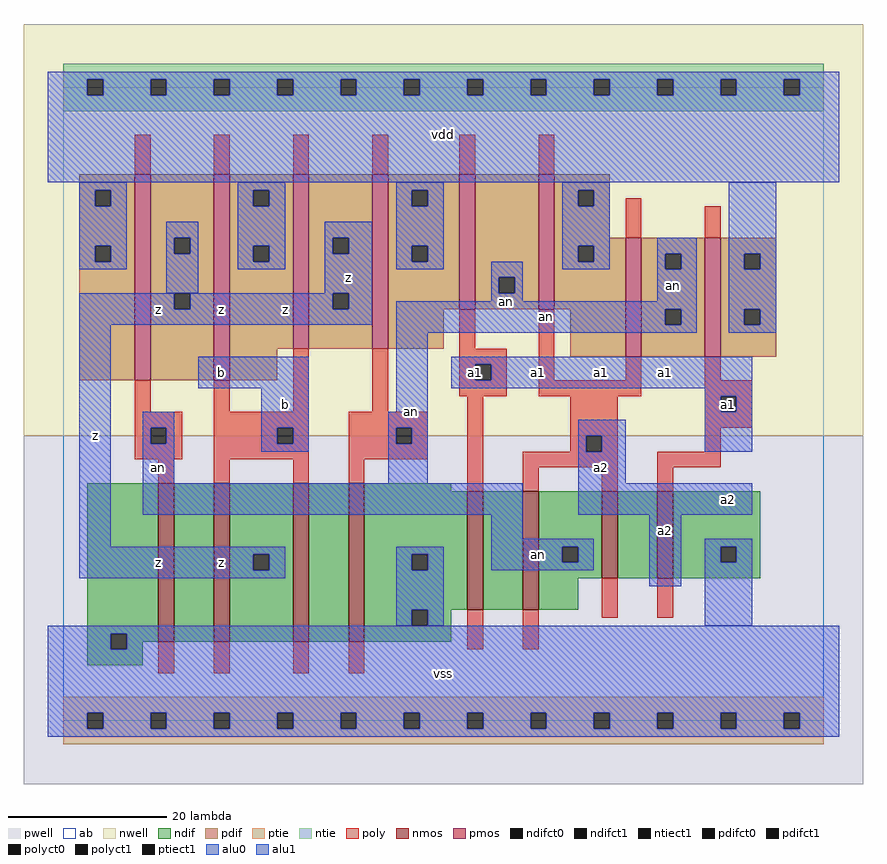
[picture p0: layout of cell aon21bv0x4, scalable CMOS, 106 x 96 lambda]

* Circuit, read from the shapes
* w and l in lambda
.subckt aon21bv0x4 a1 a2 an b vdd vss z
M1 n1 an vss vss nfet w=20 l=2
M2 z b n1 vss nfet w=20 l=2
M3 n2 b z vss nfet w=20 l=2
M4 vss an n2 vss nfet w=20 l=2
M5 n3 a1 vss vss nfet w=15 l=2
M6 an a2 n3 vss nfet w=15 l=2
M7 n4 a2 an vss nfet w=11 l=2
M8 vss a1 n4 vss nfet w=11 l=2
M9 z an vdd vdd pfet w=26 l=2
M10 vdd b z vdd pfet w=26 l=2
M11 z b vdd vdd pfet w=22 l=2
M12 vdd an z vdd pfet w=22 l=2
M13 an a1 vdd vdd pfet w=17 l=2
M14 vdd a2 an vdd pfet w=17 l=2
M15 an a2 vdd vdd pfet w=15 l=2
M16 vdd a1 an vdd pfet w=15 l=2
.ends

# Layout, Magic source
magic
tech scmos
<< ab >>
rect 0 0 96 80
<< nwell >>
rect -5 36 101 88
<< pwell >>
rect -5 -8 101 36
<< poly >>
rect 9 69 11 74
rect 19 69 21 74
rect 29 69 31 74
rect 39 69 41 74
rect 50 69 52 74
rect 60 69 62 74
rect 71 61 73 66
rect 81 61 83 65
rect 50 47 52 52
rect 9 39 11 43
rect 19 39 21 43
rect 29 39 31 47
rect 39 39 41 47
rect 50 45 56 47
rect 50 43 52 45
rect 54 43 56 45
rect 50 41 56 43
rect 60 43 62 52
rect 71 43 73 46
rect 60 41 73 43
rect 81 43 83 46
rect 81 41 87 43
rect 9 37 15 39
rect 9 35 11 37
rect 13 35 15 37
rect 9 33 15 35
rect 19 37 31 39
rect 19 35 27 37
rect 29 35 31 37
rect 19 33 31 35
rect 12 30 14 33
rect 19 30 21 33
rect 29 30 31 33
rect 36 37 46 39
rect 36 35 42 37
rect 44 35 46 37
rect 36 33 46 35
rect 36 30 38 33
rect 51 29 53 41
rect 64 36 70 41
rect 64 34 66 36
rect 68 34 70 36
rect 81 39 83 41
rect 85 39 87 41
rect 81 37 87 39
rect 81 34 83 37
rect 58 32 70 34
rect 58 29 60 32
rect 68 29 70 32
rect 75 32 83 34
rect 75 29 77 32
rect 12 6 14 10
rect 19 6 21 10
rect 29 6 31 10
rect 36 6 38 10
rect 51 9 53 14
rect 58 9 60 14
rect 68 13 70 18
rect 75 13 77 18
<< ndif >>
rect 3 11 12 30
rect 3 9 6 11
rect 8 10 12 11
rect 14 10 19 30
rect 21 21 29 30
rect 21 19 24 21
rect 26 19 29 21
rect 21 10 29 19
rect 31 10 36 30
rect 38 29 49 30
rect 38 21 51 29
rect 38 19 44 21
rect 46 19 51 21
rect 38 14 51 19
rect 53 14 58 29
rect 60 22 68 29
rect 60 20 63 22
rect 65 20 68 22
rect 60 18 68 20
rect 70 18 75 29
rect 77 22 88 29
rect 77 20 83 22
rect 85 20 88 22
rect 77 18 88 20
rect 60 14 65 18
rect 38 12 44 14
rect 46 12 49 14
rect 38 10 49 12
rect 8 9 10 10
rect 3 7 10 9
<< pdif >>
rect 2 67 9 69
rect 2 65 4 67
rect 6 65 9 67
rect 2 60 9 65
rect 2 58 4 60
rect 6 58 9 60
rect 2 43 9 58
rect 11 61 19 69
rect 11 59 14 61
rect 16 59 19 61
rect 11 54 19 59
rect 11 52 14 54
rect 16 52 19 54
rect 11 43 19 52
rect 21 67 29 69
rect 21 65 24 67
rect 26 65 29 67
rect 21 60 29 65
rect 21 58 24 60
rect 26 58 29 60
rect 21 47 29 58
rect 31 61 39 69
rect 31 59 34 61
rect 36 59 39 61
rect 31 54 39 59
rect 31 52 34 54
rect 36 52 39 54
rect 31 47 39 52
rect 41 67 50 69
rect 41 65 44 67
rect 46 65 50 67
rect 41 60 50 65
rect 41 58 44 60
rect 46 58 50 60
rect 41 52 50 58
rect 52 56 60 69
rect 52 54 55 56
rect 57 54 60 56
rect 52 52 60 54
rect 62 67 69 69
rect 62 65 65 67
rect 67 65 69 67
rect 62 61 69 65
rect 62 60 71 61
rect 62 58 65 60
rect 67 58 71 60
rect 62 52 71 58
rect 41 47 48 52
rect 21 43 27 47
rect 64 46 71 52
rect 73 59 81 61
rect 73 57 76 59
rect 78 57 81 59
rect 73 52 81 57
rect 73 50 76 52
rect 78 50 81 52
rect 73 46 81 50
rect 83 59 90 61
rect 83 57 86 59
rect 88 57 90 59
rect 83 52 90 57
rect 83 50 86 52
rect 88 50 90 52
rect 83 46 90 50
<< alu1 >>
rect -2 81 98 82
rect -2 79 3 81
rect 5 79 11 81
rect 13 79 19 81
rect 21 79 27 81
rect 29 79 35 81
rect 37 79 43 81
rect 45 79 51 81
rect 53 79 59 81
rect 61 79 67 81
rect 69 79 75 81
rect 77 79 83 81
rect 85 79 91 81
rect 93 79 98 81
rect -2 68 98 79
rect 33 61 39 63
rect 33 59 34 61
rect 36 59 39 61
rect 33 54 39 59
rect 2 52 14 54
rect 16 52 34 54
rect 36 52 39 54
rect 2 50 39 52
rect 2 22 6 50
rect 17 42 31 46
rect 25 37 31 42
rect 49 45 87 46
rect 49 43 52 45
rect 54 43 87 45
rect 49 42 87 43
rect 25 35 27 37
rect 29 35 31 37
rect 25 34 31 35
rect 81 41 87 42
rect 81 39 83 41
rect 85 39 87 41
rect 65 36 71 38
rect 65 34 66 36
rect 68 34 71 36
rect 81 34 87 39
rect 65 30 71 34
rect 65 26 87 30
rect 2 21 28 22
rect 2 19 24 21
rect 26 19 28 21
rect 2 18 28 19
rect 74 17 78 26
rect -2 11 98 12
rect -2 9 6 11
rect 8 9 98 11
rect -2 1 98 9
rect -2 -1 3 1
rect 5 -1 11 1
rect 13 -1 19 1
rect 21 -1 27 1
rect 29 -1 35 1
rect 37 -1 43 1
rect 45 -1 51 1
rect 53 -1 59 1
rect 61 -1 67 1
rect 69 -1 75 1
rect 77 -1 83 1
rect 85 -1 91 1
rect 93 -1 98 1
rect -2 -2 98 -1
<< ptie >>
rect 0 1 96 3
rect 0 -1 3 1
rect 5 -1 11 1
rect 13 -1 19 1
rect 21 -1 27 1
rect 29 -1 35 1
rect 37 -1 43 1
rect 45 -1 51 1
rect 53 -1 59 1
rect 61 -1 67 1
rect 69 -1 75 1
rect 77 -1 83 1
rect 85 -1 91 1
rect 93 -1 96 1
rect 0 -3 96 -1
<< ntie >>
rect 0 81 96 83
rect 0 79 3 81
rect 5 79 11 81
rect 13 79 19 81
rect 21 79 27 81
rect 29 79 35 81
rect 37 79 43 81
rect 45 79 51 81
rect 53 79 59 81
rect 61 79 67 81
rect 69 79 75 81
rect 77 79 83 81
rect 85 79 91 81
rect 93 79 96 81
rect 0 77 96 79
<< nmos >>
rect 12 10 14 30
rect 19 10 21 30
rect 29 10 31 30
rect 36 10 38 30
rect 51 14 53 29
rect 58 14 60 29
rect 68 18 70 29
rect 75 18 77 29
<< pmos >>
rect 9 43 11 69
rect 19 43 21 69
rect 29 47 31 69
rect 39 47 41 69
rect 50 52 52 69
rect 60 52 62 69
rect 71 46 73 61
rect 81 46 83 61
<< polyct0 >>
rect 11 35 13 37
rect 42 35 44 37
<< polyct1 >>
rect 52 43 54 45
rect 27 35 29 37
rect 66 34 68 36
rect 83 39 85 41
<< ndifct0 >>
rect 44 19 46 21
rect 63 20 65 22
rect 83 20 85 22
rect 44 12 46 14
<< ndifct1 >>
rect 6 9 8 11
rect 24 19 26 21
<< ntiect1 >>
rect 3 79 5 81
rect 11 79 13 81
rect 19 79 21 81
rect 27 79 29 81
rect 35 79 37 81
rect 43 79 45 81
rect 51 79 53 81
rect 59 79 61 81
rect 67 79 69 81
rect 75 79 77 81
rect 83 79 85 81
rect 91 79 93 81
<< ptiect1 >>
rect 3 -1 5 1
rect 11 -1 13 1
rect 19 -1 21 1
rect 27 -1 29 1
rect 35 -1 37 1
rect 43 -1 45 1
rect 51 -1 53 1
rect 59 -1 61 1
rect 67 -1 69 1
rect 75 -1 77 1
rect 83 -1 85 1
rect 91 -1 93 1
<< pdifct0 >>
rect 4 65 6 67
rect 4 58 6 60
rect 14 59 16 61
rect 24 65 26 67
rect 24 58 26 60
rect 44 65 46 67
rect 44 58 46 60
rect 55 54 57 56
rect 65 65 67 67
rect 65 58 67 60
rect 76 57 78 59
rect 76 50 78 52
rect 86 57 88 59
rect 86 50 88 52
<< pdifct1 >>
rect 14 52 16 54
rect 34 59 36 61
rect 34 52 36 54
<< alu0 >>
rect 2 67 8 68
rect 2 65 4 67
rect 6 65 8 67
rect 2 60 8 65
rect 22 67 28 68
rect 22 65 24 67
rect 26 65 28 67
rect 2 58 4 60
rect 6 58 8 60
rect 2 57 8 58
rect 13 61 17 63
rect 13 59 14 61
rect 16 59 17 61
rect 13 54 17 59
rect 22 60 28 65
rect 42 67 48 68
rect 42 65 44 67
rect 46 65 48 67
rect 22 58 24 60
rect 26 58 28 60
rect 22 57 28 58
rect 42 60 48 65
rect 42 58 44 60
rect 46 58 48 60
rect 63 67 69 68
rect 63 65 65 67
rect 67 65 69 67
rect 63 60 69 65
rect 63 58 65 60
rect 67 58 69 60
rect 42 57 48 58
rect 54 56 58 58
rect 63 57 69 58
rect 75 59 80 61
rect 75 57 76 59
rect 78 57 80 59
rect 54 54 55 56
rect 57 54 58 56
rect 54 53 58 54
rect 75 53 80 57
rect 42 52 80 53
rect 42 50 76 52
rect 78 50 80 52
rect 42 49 80 50
rect 84 59 90 68
rect 84 57 86 59
rect 88 57 90 59
rect 84 52 90 57
rect 84 50 86 52
rect 88 50 90 52
rect 84 49 90 50
rect 10 37 14 39
rect 10 35 11 37
rect 13 35 14 37
rect 10 30 14 35
rect 42 39 46 49
rect 41 37 46 39
rect 41 35 42 37
rect 44 35 46 37
rect 41 30 46 35
rect 10 26 58 30
rect 54 23 58 26
rect 54 22 67 23
rect 42 21 48 22
rect 42 19 44 21
rect 46 19 48 21
rect 54 20 63 22
rect 65 20 67 22
rect 54 19 67 20
rect 42 14 48 19
rect 81 22 87 23
rect 81 20 83 22
rect 85 20 87 22
rect 42 12 44 14
rect 46 12 48 14
rect 81 12 87 20
<< labels >>
rlabel alu0 12 32 12 32 6 an
rlabel alu0 44 39 44 39 6 an
rlabel alu0 60 21 60 21 6 an
rlabel alu0 56 53 56 53 6 an
rlabel alu0 61 51 61 51 6 an
rlabel alu0 77 55 77 55 6 an
rlabel alu1 12 20 12 20 6 z
rlabel alu1 20 20 20 20 6 z
rlabel alu1 4 36 4 36 6 z
rlabel alu1 20 44 20 44 6 b
rlabel alu1 20 52 20 52 6 z
rlabel alu1 12 52 12 52 6 z
rlabel alu1 28 40 28 40 6 b
rlabel alu1 36 56 36 56 6 z
rlabel alu1 28 52 28 52 6 z
rlabel alu1 48 6 48 6 6 vss
rlabel alu1 68 32 68 32 6 a2
rlabel alu1 60 44 60 44 6 a1
rlabel alu1 68 44 68 44 6 a1
rlabel alu1 52 44 52 44 6 a1
rlabel alu1 48 74 48 74 6 vdd
rlabel alu1 76 24 76 24 6 a2
rlabel alu1 84 28 84 28 6 a2
rlabel polyct1 84 40 84 40 6 a1
rlabel alu1 76 44 76 44 6 a1
<< end >>
